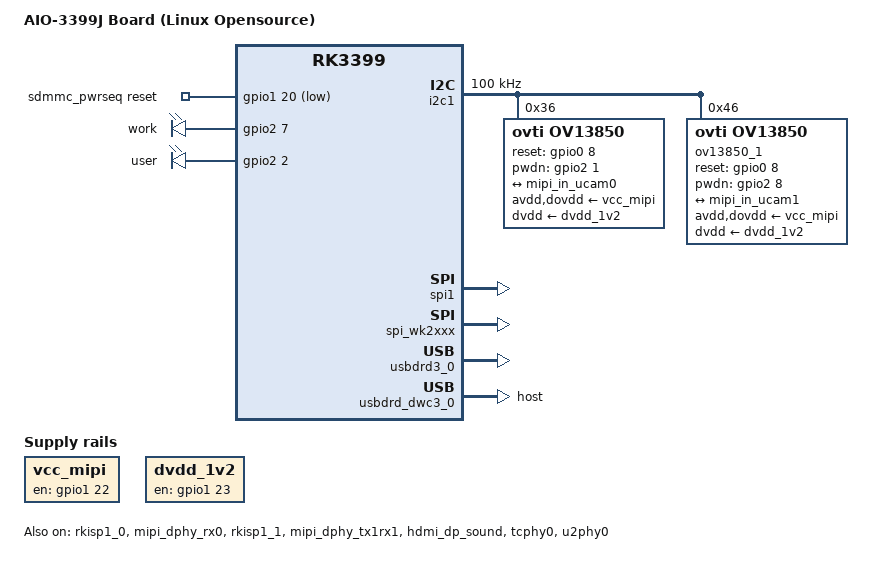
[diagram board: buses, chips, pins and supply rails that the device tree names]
/*
 * Copyright (c) 2016 Fuzhou Rockchip Electronics Co., Ltd
 *
 * This file is dual-licensed: you can use it either under the terms
 * of the GPL or the X11 license, at your option. Note that this dual
 * licensing only applies to this file, and not this project as a
 * whole.
 *
 *  a) This file is free software; you can redistribute it and/or
 *     modify it under the terms of the GNU General Public License as
 *     published by the Free Software Foundation; either version 2 of the
 *     License, or (at your option) any later version.
 *
 *     This file is distributed in the hope that it will be useful,
 *     but WITHOUT ANY WARRANTY; without even the implied warranty of
 *     MERCHANTABILITY or FITNESS FOR A PARTICULAR PURPOSE.  See the
 *     GNU General Public License for more details.
 *
 * Or, alternatively,
 *     restriction, including without limitation the rights to use,
 *     copy, modify, merge, publish, distribute, sublicense, and/or
 *     sell copies of the Software, and to permit persons to whom the
 *     Software is furnished to do so, subject to the following
 *     conditions:
 *
 *     The above copyright notice and this permission notice shall be
 *     included in all copies or substantial portions of the Software.
 *
 *     THE SOFTWARE IS PROVIDED "AS IS", WITHOUT WARRANTY OF ANY KIND,
 *     EXPRESS OR IMPLIED, INCLUDING BUT NOT LIMITED TO THE WARRANTIES
 *     OF MERCHANTABILITY, FITNESS FOR A PARTICULAR PURPOSE AND
 *     NONINFRINGEMENT. IN NO EVENT SHALL THE AUTHORS OR COPYRIGHT
 *     HOLDERS BE LIABLE FOR ANY CLAIM, DAMAGES OR OTHER LIABILITY,
 *     WHETHER IN AN ACTION OF CONTRACT, TORT OR OTHERWISE, ARISING
 *     FROM, OUT OF OR IN CONNECTION WITH THE SOFTWARE OR THE USE OR
 *     OTHER DEALINGS IN THE SOFTWARE.
 */

/dts-v1/;

#include "rk3399-firefly-port.dtsi"

/ {
	model = "AIO-3399J Board (Linux Opensource)";
	compatible = "rockchip,rk3399-firefly", "rockchip,rk3399";

	test-power {
		status = "okay";
	};

	/delete-node/ vcc-sd;
	sdmmc_pwrseq: sdmmc-pwrseq {
		compatible = "mmc-pwrseq-simple";
		clocks = <&rk808 1>;
		clock-names = "ext_clock";
		pinctrl-names = "default";
		pinctrl-0 = <&sdcard_enable_h>;
		/*
		* On the module itself this is one of these (depending
		* on the actual card populated):
		* - SDIO_RESET_L_WL_REG_ON
		* - PDN (power down when low)
		*/
		reset-gpios = <&gpio1 20 GPIO_ACTIVE_LOW>; /* GPIO1_C4 */
	};

	leds {
		compatible = "gpio-leds";

		work {
			gpios = <&gpio2 7 GPIO_ACTIVE_HIGH>;
			default-state = "on";
		};

		user {
			gpios = <&gpio2 2 GPIO_ACTIVE_HIGH>;
			default-state = "off";
		};
	};

	vcc_mipi: vcc_mipi {
		compatible = "regulator-fixed";
		enable-active-high;
		gpio = <&gpio1 22 GPIO_ACTIVE_HIGH>;
		pinctrl-names = "default";
		pinctrl-0 = <&dvp_pwr>;
		regulator-name = "vcc_mipi";
		status = "disabled";
    };

	dvdd_1v2: dvdd-1v2 {
		compatible = "regulator-fixed";
		enable-active-high;
		gpio = <&gpio1 23 GPIO_ACTIVE_HIGH>;
		pinctrl-names = "default";
		pinctrl-0 = <&cif_pwr>;
		regulator-name = "dvdd_1v2";
		status = "disabled";
	};
};


&i2c1 {
	status = "okay";
	i2c-scl-rising-time-ns = <300>;
	i2c-scl-falling-time-ns = <15>;
	clock-frequency = <100000>;

	ov13850: ov13850@36 {
		compatible = "ovti,ov13850";
		status = "disabled";
		reg = <0x36>;
		clocks = <&cru SCLK_CIF_OUT>;
		clock-names = "xvclk";

		/* conflict with csi-ctl-gpios */
		reset-gpios = <&gpio0 8 GPIO_ACTIVE_HIGH>;	/*GPIO0_B0 MIP_RST*/
		pwdn-gpios = <&gpio2 1 GPIO_ACTIVE_HIGH>;	/*GPIO2_A1  DVP_PDN1_H*/
		pinctrl-names = "rockchip,camera_default", "rockchip,camera_sleep";
		//pinctrl-0 = <&cif_clkout>;
		//pinctrl-0 = <&pwdn_cam0 &mipi_rst>;
		
		//pinctrl-0 = <&pwdn_cam0>;
		//pinctrl-1 = <&cam0_default_pins>;
		//pinctrl-2 = <&cam0_sleep_pins>;

		avdd-supply = <&vcc_mipi>; /* GPIO1_C6 CIF_PWR  AGND*/
		dovdd-supply = <&vcc_mipi>; /* GPIO1_C6 CIF_PWR  AGND */
		dvdd-supply = <&dvdd_1v2>; /* GPIO1_C7 DVP_PWR DVDD_1V2 */

		port {
			ucam_out0: endpoint {
				remote-endpoint = <&mipi_in_ucam0>;
				data-lanes = <1 2>;
			};
		};
	};

	ov13850_1: ov13850@46 {
		compatible = "ovti,ov13850";
		status = "disabled";
		reg = <0x46>;
		clocks = <&cru SCLK_CIF_OUT>;
		clock-names = "xvclk";

		/* conflict with csi-ctl-gpios */
		reset-gpios = <&gpio0 8 GPIO_ACTIVE_HIGH>; /*GPIO0_B0 MIP_RST*/
		pwdn-gpios = <&gpio2 8 GPIO_ACTIVE_HIGH>;	/*GPIO2_B0 DVP_PDN0*/
		pinctrl-names = "rockchip,camera_default", "rockchip,camera_sleep";
		//pinctrl-0 = <&cif_clkout>;
	//	pinctrl-0 = <&pwdn_cam1>;
		//pinctrl-1 = <&cam0_default_pins>;
		//pinctrl-2 = <&cam0_sleep_pins>;

		avdd-supply = <&vcc_mipi>; /* VCC28_MIPI */
		dovdd-supply = <&vcc_mipi>; /* VCC18_MIPI */
		dvdd-supply = <&dvdd_1v2>; /* DVDD_1V2 */

		port {
			ucam_out1: endpoint {
				remote-endpoint = <&mipi_in_ucam1>;
				data-lanes = <1 2>;
			};
		};
	};
};


&vcc_mipi {
	status = "okay";
};

&dvdd_1v2 {
	status = "okay";
};

&ov13850 {
	status = "okay";
};

&ov13850_1 {
	status = "okay";
};

&rkisp1_0 {
	status = "okay";
};

&mipi_dphy_rx0 {
	status = "okay";
};

&isp0_mmu {
	status = "okay";
};

&rkisp1_1 {
	status = "okay";
};

&mipi_dphy_tx1rx1 {
	status = "okay";
};

&isp1_mmu {
	status = "okay";
};





&cdn_dp {
	status = "disabled";
};

&hdmi_dp_sound {
	status = "okay";
};

&rt5640 {
    aux-det-adc-value = <1000>;
    io-channels = <&saradc 4>, <&saradc 2>;
    io-channel-names = "hp-det", "aux-det";
};

&sdmmc {
	/delete-property/ vmmc-supply;
	mmc-pwrseq = <&sdmmc_pwrseq>;
};

&spi1 {
    status = "okay";
};

&spi_wk2xxx {
    status = "okay";
};

&fusb0 {
    status = "disabled";
};

&tcphy0 {
    status = "okay";
    /delete-property/ extcon;
};

&u2phy0 {
    status = "okay";
    /delete-property/ extcon;

    u2phy0_otg: otg-port {
        rockchip,vbus-always-on;
        vbus-5v-gpios = <&gpio1 3 GPIO_ACTIVE_HIGH>;
        status = "okay";
    };
};

&usbdrd3_0 {
    status = "okay";
    /delete-property/ extcon;
};

&usbdrd_dwc3_0 {
	status = "okay";
	dr_mode = "host";
};

&vcc3v3_pcie {
    gpio = <&gpio0 13 GPIO_ACTIVE_HIGH>;
};

&pcie0 {
	ep-gpios = <&gpio4 25 GPIO_ACTIVE_HIGH>;
};

&vcc3v3_3g {
    gpio = <&gpio2 6 GPIO_ACTIVE_HIGH>;
};

&uart4 {
    status = "disabled";
};

&dp_in_vopb {
	status = "disabled";
};

&hdmi_in_vopl {
	status = "disabled";
};

&wdt {
	status = "disabled";
};

&pinctrl {
	leds {
		led_power: led-power {
			rockchip,pins =
				<2 7 RK_FUNC_GPIO &pcfg_pull_none>;
		};

		led_user: led-user {
			rockchip,pins =
				<2 2 RK_FUNC_GPIO &pcfg_pull_none>;
		};
	};

	pcie {
		pcie_drv: pcie-drv {
			rockchip,pins =
				<0 13 RK_FUNC_GPIO &pcfg_pull_none>;
		};

		pcie_3g_drv: pcie-3g-drv {
			rockchip,pins =
				<2 6 RK_FUNC_GPIO &pcfg_pull_up>;
		};
	};

	sdmmc-pwrseq {
		sdcard_enable_h: sdcard-enable-h {
			rockchip,pins =
				<1 20 RK_FUNC_GPIO &pcfg_pull_none>;
		};
	};
};
